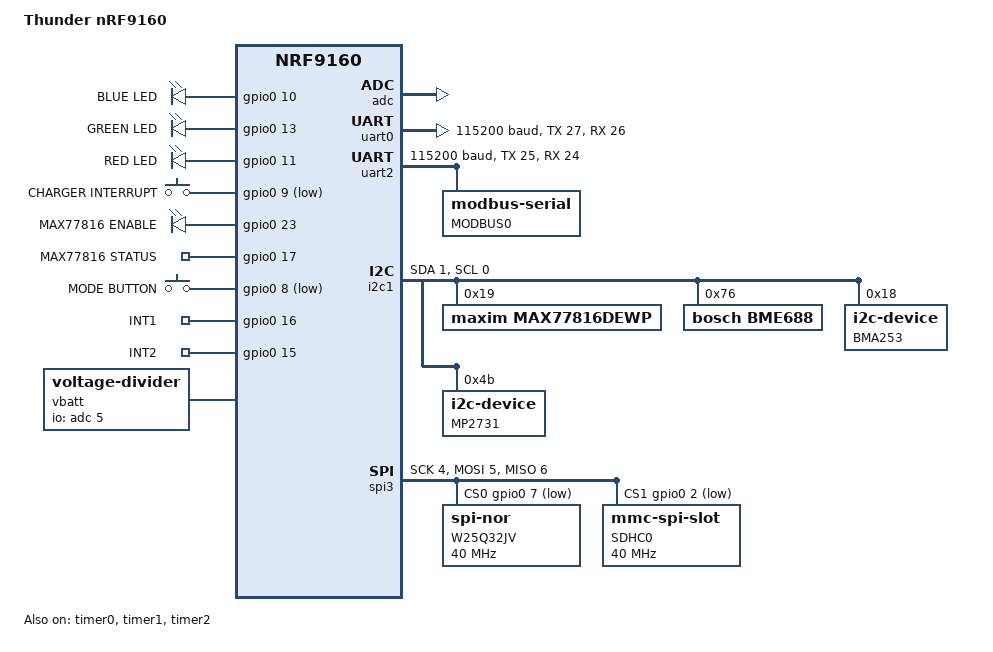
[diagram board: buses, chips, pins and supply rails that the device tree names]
/*
 * Copyright (c) 2018-2020 Nordic Semiconductor ASA
 *
 * SPDX-License-Identifier: Apache-2.0
 */

/ {
	model = "Thunder nRF9160";
	compatible = "reliance,thunder-nrf9160";

	chosen {
		zephyr,console = &uart0;
		zephyr,shell-uart = &uart0;
		zephyr,uart-mcumgr = &uart0;
		nordic,pm-ext-flash = &w25q32jv;
	};

	leds {
		compatible = "gpio-leds";
		blue_led: led_0 {
			gpios = <&gpio0 10 GPIO_ACTIVE_HIGH>;
			label = "BLUE LED";
		};
		green_led: led_1 {
			gpios = <&gpio0 13 GPIO_ACTIVE_HIGH>;
			label = "GREEN LED";
		};
		red_led: led_2 {
			gpios = <&gpio0 11 GPIO_ACTIVE_HIGH>;
			label = "RED LED";
		};
	};

	
	pwr_chrg_int {
		compatible = "gpio-keys";
		pwr_chrg: int1 {
			gpios = <&gpio0 9 GPIO_ACTIVE_LOW>;
			label = "CHARGER INTERRUPT";
		};
	};

	sys_reg_en
	{
		compatible = "gpio-leds";
		max77816_en: reg_en_1 {
			gpios = <&gpio0 23 GPIO_ACTIVE_HIGH>;
			label = "MAX77816 ENABLE";
		};
	};

	sys_reg_state
	{
		compatible = "gpio-keys";
		max77816_state: reg_status_1 {
			gpios = <&gpio0 17 GPIO_ACTIVE_HIGH>;
			label = "MAX77816 STATUS";
		};	
	};


	buttons {
		compatible = "gpio-keys";
		mode_btn: button_0 {
			gpios = <&gpio0 8 GPIO_ACTIVE_LOW>;
			label = "MODE BUTTON";
		};
	};

	bma2_int_gpios {
		compatible = "gpio-keys";
		bma2_int1: int1 {
			gpios = <&gpio0 16 (GPIO_ACTIVE_HIGH | GPIO_PULL_DOWN)>;
			label = "INT1";
		};
		bma2_int2: int2 {
			gpios = <&gpio0 15 (GPIO_ACTIVE_HIGH | GPIO_PULL_DOWN)>;
			label = "INT2";
		};
	};

	/* These aliases are provided for compatibility with samples */
	aliases {
		led0 = &blue_led;
		led1 = &green_led;
		led2 = &red_led;
		sw0 = &mode_btn;
		bootloader-led0 = &blue_led;
		ext-reg-en = &max77816_en;
		ext-reg-status = &max77816_state;
	};
};

&adc {
	status = "okay";
};

&gpiote {
	status = "okay";
};

&gpio0 {
	status = "okay";
};

/*used mainly for console, shell, (optional, can use uart1 instead)AT commands*/
&uart0 {
	compatible = "nordic,nrf-uarte";
	status = "okay";
	label = "UART0";
	current-speed = <115200>;
	tx-pin = <27>;
	rx-pin = <26>;
};

/*used mainly for external sensors*/
&uart2 {
	// compatible = "nordic,nrf-uarte";
	// label = "UART2";
	status = "okay";
	current-speed = <115200>;
	tx-pin = <25>;
	rx-pin = <24>;

	modbus_rtu: modbus_rtu {
		compatible = "zephyr,modbus-serial";
		label = "MODBUS0";
	};
};

/*on-board sensors & utilities*/
/*Always set the pins to sensor i2c not to the utilities otherwise the sensor driver will fail to initialize after startup*/
&i2c1 {
	compatible = "nordic,nrf-twim";
	label = "I2C1";
	status = "okay";
	sda-pin = <1>;
	scl-pin = <0>;
	
	max77816dewp@19 {
		compatible = "maxim,max77816dewp";
		label = "MAX77816DEWP";
		reg = <0x19>;
	};

	bme688@76 {
		compatible = "bosch,bme688";
		label = "BME688";
		reg = <0x76>;
	};

	bma253: bma253@18 {
		compatible = "i2c-device";
		status = "okay";
		label = "BMA253";
		reg = <0x18>;
	};

	mp2731: mp2731@96 {
		compatible = "i2c-device";
		status = "okay";
		label = "MP2731";
		reg = <0x4B>;
	};	
};

&spi3 {
	compatible = "nordic,nrf-spim";
	label = "SPI3";
	status = "okay";
	sck-pin = <4>;
	mosi-pin = <5>;
	miso-pin = <6>;
	cs-gpios = 	< &gpio0 7 GPIO_ACTIVE_LOW >,
				< &gpio0 2 (GPIO_ACTIVE_LOW | GPIO_PULL_UP) >;
	// miso-pull-up;
	w25q32jv: w25q32jv@0 {
		compatible = "jedec,spi-nor";
		label = "W25Q32JV";
		reg = < 0 >;
		spi-max-frequency = < 40000000 >;
		size = < 0x2000000 >;
		has-dpd;
		t-enter-dpd = < 3000 >;
		t-exit-dpd = < 30000 >;
		jedec-id = [ ef 40 16  ];
	};
	sdhc0: sdhc@1 {
		compatible = "zephyr,mmc-spi-slot";
		reg = < 1 >;
		status = "okay";
		label = "SDHC0";
		spi-max-frequency = <40000000>;
	};
};

&timer0 {
	status = "okay";
};

&timer1 {
	status = "okay";
};

&timer2 {
	status = "okay";
};

&flash0 {

	partitions {
		compatible = "fixed-partitions";
		#address-cells = <1>;
		#size-cells = <1>;

		boot_partition: partition@0 {
			label = "mcuboot";
			reg = <0x00000000 0x10000>;
		};
		slot0_partition: partition@10000 {
			label = "image-0";
		};
		slot0_ns_partition: partition@40000 {
			label = "image-0-nonsecure";
		};
		slot1_partition: partition@80000 {
			label = "image-1";
		};
		slot1_ns_partition: partition@b0000 {
			label = "image-1-nonsecure";
		};
		scratch_partition: partition@f0000 {
			label = "image-scratch";
			reg = <0x000f0000 0xa000>;
		};
		storage_partition: partition@fa000 {
			label = "storage";
			reg = <0x000fa000 0x00006000>;
		};
	};
};

/ {
	reserved-memory {
		#address-cells = <1>;
		#size-cells = <1>;
		ranges;

		sram0_s: image_s@20000000 {
			/* Secure image memory */
		};

		sram0_modem: image_modem@20010000 {
			/* Modem (shared) memory */
		};

		sram0_ns: image_ns@2001A000 {
			/* Non-Secure image memory */
		};
	};
};

/ { 
	vbatt {
		compatible = "voltage-divider";
		io-channels = <&adc 5>;
		output-ohms = <100000>;
		full-ohms = <(100000 + 100000)>;
		/*power-gpios = <&gpio0 25 GPIO_ACTIVE_HIGH>;*/
	};
};


/* Include partition configuration file */
#include "thunder_nrf9160_partition_conf.dts"
